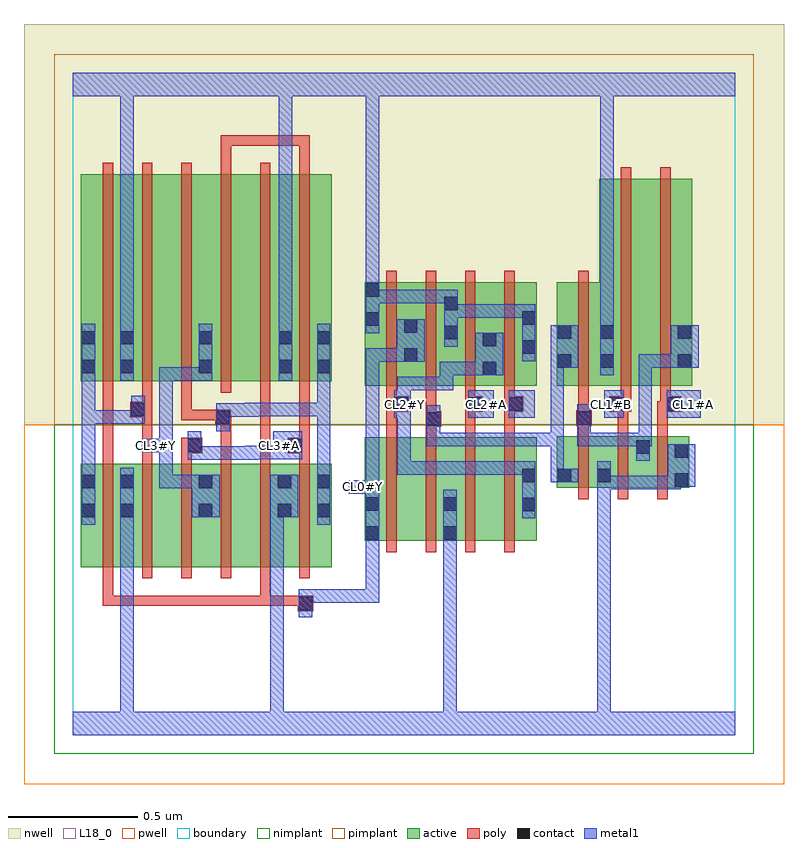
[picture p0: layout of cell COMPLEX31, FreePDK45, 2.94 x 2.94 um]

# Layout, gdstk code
import gdstk
lib = gdstk.Library(unit=1e-6, precision=1e-09)
def R(c, l, rs):  # rectangles x0, y0, x1, y1
    for r in rs: c.add(gdstk.rectangle(r[:2], r[2:], *l))
def A(c, l, x, y, w, h, nx, ny, dx, dy):  # array of equal rectangles
    R(c, l, [(x+i*dx, y+j*dy, x+i*dx+w, y+j*dy+h) for i in range(nx) for j in range(ny)])
active = (1, 0)
pwell = (2, 0)
nwell = (3, 0)
nimplant = (4, 0)
pimplant = (5, 0)
poly = (9, 0)
contact = (10, 0)
metal1 = (11, 0)
L18_0 = (18, 0)
boundary = (235, 0)

complex31 = lib.new_cell('COMPLEX31')
A(complex31, active, 0.18, 0.65, 0.06, 0.4, 3, 1, 0.304, 0)
R(complex31, active, [(0.032,0.65,0.092,1.05), (0.032,0.65,0.24,1.05), (0.18,0.65,0.364,1.05), (0.364,0.65,0.544,1.05), (0.484,0.65,0.668,1.05), (0.668,0.65,0.848,1.05), (0.788,0.65,1,1.05), (0.94,0.65,1,1.05), (1.128,0.752,1.188,1.152), (1.128,0.752,1.308,1.152), (1.308,0.752,1.488,1.152), (1.428,0.752,1.488,1.152), (1.428,0.752,1.612,1.152), (1.612,0.752,1.792,1.152), (1.732,0.752,1.792,1.152), (1.87,0.956,1.93,1.156), (1.87,0.956,2.082,1.156), (2.022,0.956,2.234,1.156), (2.022,0.956,2.082,1.034), (2.174,0.956,2.234,1.156), (2.174,0.956,2.382,1.156), (2.322,0.956,2.382,1.156), (1.128,1.35,1.188,1.75), (1.128,1.35,1.336,1.75), (1.276,1.35,1.336,1.644), (1.276,1.35,1.492,1.75), (1.432,1.35,1.64,1.75), (1.432,1.35,1.492,1.698), (1.58,1.35,1.792,1.75), (1.58,1.35,1.64,1.644), (1.732,1.35,1.792,1.644), (1.87,1.35,2.094,1.75), (1.87,1.35,1.93,1.644), (2.034,1.35,2.094,2.15), (2.034,1.35,2.214,2.15), (2.214,1.35,2.394,2.15), (2.334,1.35,2.394,2.15), (0.032,1.368,0.092,2.044), (0.032,1.368,0.24,2.168), (0.18,1.368,0.24,2.044), (0.18,1.368,0.364,2.168), (0.364,1.368,0.544,2.168), (0.484,1.368,0.544,2.044), (0.484,1.368,0.668,2.168), (0.668,1.368,0.852,2.168), (0.792,1.368,0.852,2.044), (0.792,1.368,1,2.168), (0.94,1.368,1,2.044)])
R(complex31, pwell, [(-0.188,-0.188,2.748,1.2)])
R(complex31, nwell, [(-0.188,1.2,2.748,2.748)])
R(complex31, nimplant, [(-0.072,-0.072,2.632,1.2)])
R(complex31, pimplant, [(-0.072,1.2,2.632,2.632)])
A(complex31, poly, 0.116, 0.606, 0.04, 0.488, 6, 1, 0.152, 0)
A(complex31, poly, 1.212, 0.708, 0.04, 0.488, 4, 2, 0.152, 0.598)
A(complex31, poly, 1.954, 0.912, 0.04, 0.288, 3, 1, 0.152, 0)
A(complex31, poly, 0.116, 1.324, 0.04, 0.888, 6, 1, 0.152, 0)
R(complex31, poly, [(0.87,0.48,0.93,0.54), (0.116,0.5,0.156,0.54), (0.116,0.5,0.156,0.54), (0.116,0.5,0.156,0.54), (0.116,0.5,0.156,0.646), (0.116,0.5,0.324,0.54), (0.284,0.5,0.324,0.54), (0.284,0.5,0.324,0.54), (0.284,0.5,0.324,0.54), (0.284,0.5,0.484,0.54), (0.444,0.5,0.484,0.54), (0.444,0.5,0.484,0.54), (0.444,0.5,0.484,0.54), (0.444,0.5,0.59,0.54), (0.55,0.5,0.59,0.54), (0.55,0.5,0.764,0.54), (0.724,0.5,0.764,0.54), (0.724,0.5,0.764,0.54), (0.724,0.5,0.764,0.54), (0.724,0.5,0.764,0.646), (0.724,0.5,0.91,0.54), (0.87,0.5,0.91,0.54), (0.87,0.5,0.91,0.54), (0.116,1.054,0.156,1.328), (0.268,1.054,0.308,1.268), (0.42,1.054,0.46,1.13), (0.572,1.054,0.612,1.238), (0.724,1.054,0.764,1.328), (0.876,1.054,0.916,1.13), (0.42,1.09,0.5,1.15), (0.83,1.09,0.916,1.15), (0.876,1.11,0.916,1.15), (0.876,1.11,0.916,1.15), (0.876,1.11,0.916,1.364), (1.212,1.156,1.252,1.29), (1.364,1.156,1.404,1.232), (1.516,1.156,1.556,1.29), (1.668,1.156,1.708,1.29), (1.954,1.16,1.994,1.236), (2.106,1.16,2.146,1.29), (2.258,1.16,2.298,1.29), (1.364,1.192,1.424,1.252), (1.946,1.196,2.006,1.256), (0.55,1.198,0.61,1.258), (0.57,1.198,0.61,1.238), (0.57,1.198,0.612,1.238), (1.364,1.212,1.404,1.252), (1.364,1.212,1.404,1.252), (1.364,1.212,1.404,1.346), (1.954,1.216,1.994,1.256), (1.954,1.216,1.994,1.256), (1.954,1.216,1.994,1.346), (0.42,1.218,0.46,1.258), (0.42,1.218,0.46,1.364), (0.42,1.218,0.59,1.258), (0.55,1.218,0.59,1.258), (0.55,1.218,0.59,1.258), (0.222,1.228,0.308,1.288), (0.268,1.228,0.308,1.268), (0.268,1.228,0.308,1.268), (0.268,1.248,0.308,1.364), (1.212,1.25,1.298,1.31), (1.516,1.25,1.556,1.29), (1.516,1.25,1.556,1.29), (1.516,1.25,1.584,1.31), (1.668,1.25,1.708,1.29), (1.668,1.25,1.708,1.29), (1.668,1.25,1.74,1.31), (2.072,1.25,2.158,1.31), (2.106,1.25,2.146,1.29), (2.106,1.25,2.146,1.29), (2.258,1.25,2.31,1.29), (2.27,1.25,2.31,1.29), (2.27,1.25,2.352,1.31), (1.212,1.27,1.252,1.346), (1.212,1.27,1.252,1.31), (1.212,1.27,1.252,1.31), (1.516,1.27,1.556,1.346), (1.668,1.27,1.708,1.346), (2.118,1.27,2.158,1.346), (2.27,1.27,2.31,1.346), (0.116,1.288,0.156,1.364), (0.116,1.288,0.156,1.328), (0.116,1.288,0.156,1.328), (0.116,1.288,0.156,1.328), (0.724,1.288,0.764,1.364), (0.724,1.288,0.764,1.328), (0.724,1.288,0.764,1.328), (0.724,1.288,0.764,1.328), (1.954,1.306,1.994,1.794), (2.118,1.306,2.158,2.194), (2.27,1.306,2.31,2.194), (0.572,2.172,0.612,2.318), (0.876,2.172,0.916,2.318), (0.572,2.278,0.612,2.318), (0.572,2.278,0.764,2.318), (0.724,2.278,0.764,2.318), (0.724,2.278,0.764,2.318), (0.724,2.278,0.764,2.318), (0.724,2.278,0.916,2.318), (0.876,2.278,0.916,2.318), (0.876,2.278,0.916,2.318), (0.876,2.278,0.916,2.318)])
A(complex31, contact, 0.184, 0.842, 0.052, 0.052, 3, 2, 0.304, 0.112)
R(complex31, contact, [(0.874,0.484,0.926,0.536), (1.132,0.756,1.184,0.808), (1.432,0.756,1.484,0.808), (0.036,0.842,0.088,0.894), (0.944,0.842,0.996,0.894), (1.736,0.866,1.788,0.918), (1.132,0.868,1.184,0.92), (1.432,0.868,1.484,0.92), (0.036,0.954,0.088,1.006), (0.944,0.954,0.996,1.006), (2.326,0.96,2.378,1.012), (1.736,0.978,1.788,1.03), (1.874,0.978,1.926,1.03), (2.026,0.978,2.078,1.03), (2.326,1.072,2.378,1.124), (2.178,1.088,2.23,1.14), (0.444,1.094,0.496,1.146), (0.834,1.094,0.886,1.146), (1.368,1.196,1.42,1.248), (1.95,1.2,2.002,1.252), (0.554,1.202,0.606,1.254), (0.226,1.232,0.278,1.284), (1.242,1.254,1.294,1.306), (1.528,1.254,1.58,1.306), (1.684,1.254,1.736,1.306), (2.076,1.254,2.128,1.306), (2.296,1.254,2.348,1.306), (1.584,1.392,1.636,1.444), (0.036,1.398,0.088,1.45), (0.184,1.398,0.236,1.45), (0.488,1.398,0.54,1.45), (0.796,1.398,0.848,1.45), (0.944,1.398,0.996,1.45), (1.874,1.42,1.926,1.472), (2.038,1.42,2.09,1.472), (2.338,1.42,2.39,1.472), (1.28,1.444,1.332,1.496), (1.736,1.474,1.788,1.526), (1.584,1.504,1.636,1.556), (0.036,1.51,0.088,1.562), (0.184,1.51,0.236,1.562), (0.488,1.51,0.54,1.562), (0.796,1.51,0.848,1.562), (0.944,1.51,0.996,1.562), (1.436,1.53,1.488,1.582), (1.874,1.532,1.926,1.584), (2.038,1.532,2.09,1.584), (2.338,1.532,2.39,1.584), (1.28,1.556,1.332,1.608), (1.132,1.582,1.184,1.634), (1.736,1.586,1.788,1.638), (1.436,1.642,1.488,1.694), (1.132,1.694,1.184,1.746)])
R(complex31, metal1, [(0,0,2.56,0.092), (0.184,0.04,0.236,0.092), (0.184,0.04,0.236,0.092), (0.184,0.04,0.236,0.092), (0.184,0.04,0.236,0.092), (0.184,0.04,0.236,0.092), (0.184,0.04,0.236,0.092), (0.184,0.04,0.236,0.092), (0.184,0.04,0.236,0.092), (0.184,0.04,0.236,0.866), (0.764,0.04,0.816,0.092), (0.764,0.04,0.816,0.092), (0.764,0.04,0.816,0.092), (0.764,0.04,0.816,0.092), (0.764,0.04,0.816,0.092), (0.764,0.04,0.816,0.092), (0.764,0.04,0.816,0.092), (0.764,0.04,0.816,0.092), (0.764,0.04,0.816,0.092), (0.764,0.04,0.816,0.092), (0.764,0.04,0.816,0.092), (0.764,0.04,0.816,0.092), (0.764,0.04,0.816,0.894), (1.432,0.04,1.484,0.78), (2.026,0.04,2.078,0.092), (2.026,0.04,2.078,0.092), (2.026,0.04,2.078,0.092), (2.026,0.04,2.078,0.092), (2.026,0.04,2.078,0.092), (2.026,0.04,2.078,0.092), (2.026,0.04,2.078,0.092), (2.026,0.04,2.078,0.092), (2.026,0.04,2.078,0.092), (2.026,0.04,2.078,0.092), (2.026,0.04,2.078,0.092), (2.026,0.04,2.078,0.092), (2.026,0.04,2.078,0.092), (2.026,0.04,2.078,0.092), (2.026,0.04,2.078,0.092), (2.026,0.04,2.078,0.092), (2.026,0.04,2.078,1.002), (0.874,0.456,0.926,0.564), (0.874,0.512,0.982,0.564), (0.93,0.512,0.982,0.564), (0.93,0.512,0.982,0.564), (0.93,0.512,0.982,0.564), (0.93,0.512,1.184,0.564), (1.132,0.512,1.184,0.564), (1.132,0.512,1.184,0.78), (1.132,0.728,1.184,0.78), (1.132,0.728,1.184,0.78), (1.132,0.728,1.184,0.78), (1.132,0.728,1.184,0.78), (1.132,0.728,1.184,0.948), (1.432,0.728,1.484,0.78), (1.432,0.728,1.484,0.78), (1.432,0.728,1.484,0.78), (1.432,0.728,1.484,0.78), (1.432,0.728,1.484,0.78), (1.432,0.728,1.484,0.78), (1.432,0.728,1.484,0.78), (1.432,0.728,1.484,0.78), (1.432,0.728,1.484,0.78), (1.432,0.728,1.484,0.78), (1.432,0.728,1.484,0.78), (1.432,0.728,1.484,0.78), (1.432,0.728,1.484,0.948), (0.036,0.814,0.088,1.034), (0.184,0.814,0.236,0.866), (0.184,0.814,0.236,0.866), (0.184,0.814,0.236,0.866), (0.184,0.814,0.236,0.866), (0.184,0.814,0.236,1.034), (0.944,0.814,0.996,1.034), (1.736,0.838,1.788,1.058), (0.46,0.842,0.568,1.006), (0.764,0.842,0.872,1.006), (1.132,0.896,1.184,0.986), (1.066,0.934,1.184,0.986), (1.132,0.934,1.184,1.496), (2.026,0.95,2.078,1.058), (2.026,0.95,2.238,1.002), (2.186,0.95,2.238,1.002), (2.186,0.95,2.238,1.002), (2.186,0.95,2.238,1.002), (2.186,0.95,2.35,1.002), (2.298,0.95,2.35,1.012), (0.334,0.954,0.386,1.006), (0.334,0.954,0.388,1.006), (0.334,0.954,0.386,1.146), (0.336,0.954,0.388,1.006), (0.336,0.954,0.512,1.006), (2.298,0.96,2.35,1.012), (2.298,0.96,2.406,1.124), (1.846,0.978,1.898,1.168), (1.846,0.978,1.954,1.03), (0.036,0.982,0.088,1.034), (0.036,0.982,0.088,1.034), (0.036,0.982,0.088,1.256), (0.944,0.982,0.996,1.284), (1.254,1.006,1.306,1.058), (1.254,1.006,1.416,1.058), (1.254,1.006,1.306,1.278), (1.364,1.006,1.416,1.058), (1.364,1.006,1.416,1.058), (1.364,1.006,1.416,1.058), (1.364,1.006,1.626,1.058), (1.574,1.006,1.626,1.058), (1.574,1.006,1.626,1.058), (1.574,1.006,1.626,1.058), (1.574,1.006,1.788,1.058), (1.736,1.006,1.788,1.058), (1.736,1.006,1.788,1.058), (2.178,1.06,2.23,1.168), (0.444,1.064,0.606,1.116), (0.444,1.064,0.496,1.118), (0.554,1.064,0.606,1.116), (0.554,1.064,0.606,1.116), (0.554,1.064,0.606,1.116), (0.554,1.064,0.716,1.116), (0.664,1.064,0.716,1.118), (0.444,1.066,0.496,1.118), (0.444,1.066,0.496,1.174), (0.664,1.066,0.826,1.118), (0.774,1.066,0.826,1.118), (0.774,1.066,0.826,1.118), (0.774,1.066,0.886,1.174), (0.266,1.094,0.386,1.146), (0.334,1.094,0.386,1.146), (0.334,1.094,0.386,1.146), (0.334,1.094,0.386,1.422), (1.368,1.116,1.626,1.168), (1.368,1.116,1.42,1.22), (1.574,1.116,1.626,1.168), (1.574,1.116,1.626,1.168), (1.574,1.116,1.626,1.168), (1.574,1.116,1.736,1.168), (1.684,1.116,1.736,1.168), (1.684,1.116,1.736,1.168), (1.684,1.116,1.736,1.168), (1.684,1.116,1.898,1.168), (1.846,1.116,1.898,1.168), (1.846,1.116,1.898,1.472), (1.95,1.116,2.002,1.224), (1.95,1.116,2.23,1.168), (2.178,1.116,2.23,1.168), (2.178,1.116,2.23,1.168), (2.178,1.116,2.23,1.168), (2.178,1.116,2.238,1.168), (2.186,1.116,2.238,1.472), (1.368,1.168,1.42,1.22), (1.368,1.168,1.42,1.276), (1.95,1.172,2.002,1.224), (1.95,1.172,2.002,1.28), (0.554,1.174,0.606,1.282), (0.036,1.204,0.088,1.256), (0.036,1.204,0.088,1.256), (0.036,1.204,0.088,1.256), (0.036,1.204,0.198,1.256), (0.036,1.204,0.088,1.422), (0.146,1.204,0.198,1.256), (0.146,1.204,0.278,1.256), (0.226,1.204,0.278,1.312), (1.242,1.226,1.306,1.334), (1.254,1.226,1.306,1.278), (1.254,1.226,1.306,1.278), (1.254,1.226,1.306,1.386), (1.528,1.226,1.626,1.334), (1.684,1.226,1.786,1.334), (2.054,1.226,2.128,1.334), (2.296,1.226,2.426,1.334), (0.554,1.23,0.606,1.282), (0.554,1.23,0.606,1.282), (0.554,1.23,0.716,1.282), (0.664,1.23,0.716,1.284), (0.664,1.232,0.716,1.284), (0.664,1.232,0.716,1.284), (0.664,1.232,0.996,1.284), (0.944,1.232,0.996,1.284), (0.944,1.232,0.996,1.284), (0.944,1.232,0.996,1.284), (0.944,1.232,0.996,1.284), (0.944,1.232,0.996,1.284), (0.944,1.232,0.996,1.422), (1.254,1.334,1.306,1.386), (1.254,1.334,1.47,1.386), (1.418,1.334,1.47,1.386), (1.418,1.334,1.47,1.386), (1.418,1.334,1.47,1.386), (1.418,1.334,1.47,1.444), (0.036,1.37,0.088,1.59), (0.184,1.37,0.236,1.59), (0.334,1.37,0.386,1.422), (0.334,1.37,0.388,1.422), (0.336,1.37,0.388,1.422), (0.336,1.37,0.54,1.422), (0.488,1.37,0.54,1.59), (0.796,1.37,0.848,1.59), (0.944,1.37,0.996,1.59), (1.418,1.392,1.47,1.444), (1.418,1.392,1.608,1.444), (1.556,1.392,1.608,1.444), (1.556,1.392,1.608,1.444), (1.556,1.392,1.664,1.556), (2.038,1.392,2.09,1.612), (1.846,1.42,1.898,1.472), (1.846,1.42,1.898,1.472), (1.846,1.42,1.954,1.584), (2.186,1.42,2.238,1.472), (2.186,1.42,2.238,1.472), (2.186,1.42,2.238,1.472), (2.186,1.42,2.362,1.472), (2.31,1.42,2.362,1.472), (2.31,1.42,2.362,1.472), (2.31,1.42,2.418,1.584), (1.132,1.444,1.184,1.496), (1.132,1.444,1.184,1.496), (1.132,1.444,1.184,1.496), (1.132,1.444,1.184,1.496), (1.132,1.444,1.184,1.496), (1.132,1.444,1.304,1.496), (1.252,1.444,1.36,1.608), (1.736,1.446,1.788,1.666), (1.436,1.502,1.488,1.722), (0.184,1.538,0.236,1.59), (0.184,1.538,0.236,1.59), (0.184,1.538,0.236,2.52), (0.796,1.538,0.848,1.59), (0.796,1.538,0.848,1.59), (0.796,1.538,0.848,1.59), (0.796,1.538,0.848,1.59), (0.796,1.538,0.848,1.59), (0.796,1.538,0.848,1.59), (0.796,1.538,0.848,2.52), (1.132,1.554,1.184,1.774), (2.038,1.56,2.09,2.52), (1.436,1.614,1.626,1.666), (1.574,1.614,1.626,1.666), (1.574,1.614,1.626,1.666), (1.574,1.614,1.626,1.666), (1.574,1.614,1.788,1.666), (1.736,1.614,1.788,1.666), (1.736,1.614,1.788,1.666), (1.132,1.67,1.294,1.722), (1.242,1.67,1.294,1.722), (1.242,1.67,1.294,1.722), (1.242,1.67,1.294,1.722), (1.242,1.67,1.462,1.722), (1.41,1.67,1.462,1.722), (1.41,1.67,1.488,1.722), (1.132,1.722,1.184,1.774), (1.132,1.722,1.184,1.774), (1.132,1.722,1.184,1.774), (1.132,1.722,1.184,1.774), (1.132,1.722,1.184,1.774), (1.132,1.722,1.184,1.774), (1.132,1.722,1.184,1.774), (1.132,1.722,1.184,1.774), (1.132,1.722,1.184,1.774), (1.132,1.722,1.184,1.774), (1.132,1.722,1.184,1.774), (1.132,1.722,1.184,1.774), (1.132,1.722,1.184,1.774), (1.132,1.722,1.184,1.774), (1.132,1.722,1.184,2.52), (0,2.468,2.56,2.56), (0.184,2.468,0.236,2.52), (0.184,2.468,0.236,2.52), (0.184,2.468,0.236,2.52), (0.184,2.468,0.236,2.52), (0.184,2.468,0.236,2.52), (0.184,2.468,0.236,2.52), (0.796,2.468,0.848,2.52), (0.796,2.468,0.848,2.52), (1.132,2.468,1.184,2.52), (1.132,2.468,1.184,2.52), (2.038,2.468,2.09,2.52), (2.038,2.468,2.09,2.52), (2.038,2.468,2.09,2.52), (2.038,2.468,2.09,2.52), (2.038,2.468,2.09,2.52), (2.038,2.468,2.09,2.52), (2.038,2.468,2.09,2.52), (2.038,2.468,2.09,2.52)])
A(complex31, L18_0, 1.734, 1.254, 0.052, 0.052, 3, 1, 0.32, 0)
R(complex31, L18_0, [(0,0,2.56,0.092), (0.184,0.04,0.236,0.092), (0.184,0.04,0.236,0.092), (0.184,0.04,0.236,0.092), (0.184,0.04,0.236,0.092), (0.184,0.04,0.236,0.092), (0.184,0.04,0.236,0.092), (0.184,0.04,0.236,0.092), (0.184,0.04,0.236,0.092), (0.184,0.04,0.236,0.866), (0.764,0.04,0.816,0.092), (0.764,0.04,0.816,0.092), (0.764,0.04,0.816,0.092), (0.764,0.04,0.816,0.092), (0.764,0.04,0.816,0.092), (0.764,0.04,0.816,0.092), (0.764,0.04,0.816,0.092), (0.764,0.04,0.816,0.092), (0.764,0.04,0.816,0.092), (0.764,0.04,0.816,0.092), (0.764,0.04,0.816,0.092), (0.764,0.04,0.816,0.092), (0.764,0.04,0.816,0.894), (1.432,0.04,1.484,0.78), (2.026,0.04,2.078,0.092), (2.026,0.04,2.078,0.092), (2.026,0.04,2.078,0.092), (2.026,0.04,2.078,0.092), (2.026,0.04,2.078,0.092), (2.026,0.04,2.078,0.092), (2.026,0.04,2.078,0.092), (2.026,0.04,2.078,0.092), (2.026,0.04,2.078,0.092), (2.026,0.04,2.078,0.092), (2.026,0.04,2.078,0.092), (2.026,0.04,2.078,0.092), (2.026,0.04,2.078,0.092), (2.026,0.04,2.078,0.092), (2.026,0.04,2.078,0.092), (2.026,0.04,2.078,0.092), (2.026,0.04,2.078,1.002), (0.874,0.456,0.926,0.564), (0.874,0.512,0.982,0.564), (0.93,0.512,0.982,0.564), (0.93,0.512,0.982,0.564), (0.93,0.512,0.982,0.564), (0.93,0.512,1.184,0.564), (1.132,0.512,1.184,0.564), (1.132,0.512,1.184,0.78), (1.132,0.728,1.184,0.78), (1.132,0.728,1.184,0.78), (1.132,0.728,1.184,0.78), (1.132,0.728,1.184,0.78), (1.132,0.728,1.184,0.948), (1.432,0.728,1.484,0.78), (1.432,0.728,1.484,0.78), (1.432,0.728,1.484,0.78), (1.432,0.728,1.484,0.78), (1.432,0.728,1.484,0.78), (1.432,0.728,1.484,0.78), (1.432,0.728,1.484,0.78), (1.432,0.728,1.484,0.78), (1.432,0.728,1.484,0.78), (1.432,0.728,1.484,0.78), (1.432,0.728,1.484,0.78), (1.432,0.728,1.484,0.78), (1.432,0.728,1.484,0.948), (0.184,0.814,0.236,0.866), (0.184,0.814,0.236,0.866), (0.184,0.814,0.236,0.866), (0.184,0.814,0.236,0.866), (0.184,0.814,0.236,1.034), (1.736,0.838,1.788,1.058), (0.46,0.842,0.568,1.006), (0.764,0.842,0.872,1.006), (1.132,0.896,1.184,0.986), (1.066,0.934,1.184,0.986), (1.094,0.934,1.146,0.986), (1.132,0.934,1.184,1.496), (2.026,0.95,2.078,1.058), (2.026,0.95,2.238,1.002), (2.186,0.95,2.238,1.002), (2.186,0.95,2.238,1.002), (2.186,0.95,2.238,1.002), (2.186,0.95,2.35,1.002), (2.298,0.95,2.35,1.012), (0.334,0.954,0.386,1.006), (0.334,0.954,0.386,1.146), (0.334,0.954,0.388,1.006), (0.336,0.954,0.388,1.006), (0.336,0.954,0.512,1.006), (2.298,0.96,2.35,1.012), (2.298,0.96,2.406,1.124), (1.254,1.006,1.306,1.058), (1.254,1.006,1.416,1.058), (1.254,1.006,1.306,1.278), (1.364,1.006,1.416,1.058), (1.364,1.006,1.416,1.058), (1.364,1.006,1.416,1.058), (1.364,1.006,1.626,1.058), (1.574,1.006,1.626,1.058), (1.574,1.006,1.626,1.058), (1.574,1.006,1.626,1.058), (1.574,1.006,1.788,1.058), (1.736,1.006,1.788,1.058), (1.736,1.006,1.788,1.058), (0.444,1.064,0.496,1.118), (0.444,1.064,0.606,1.116), (0.554,1.064,0.606,1.116), (0.554,1.064,0.606,1.116), (0.554,1.064,0.606,1.116), (0.554,1.064,0.716,1.116), (0.664,1.064,0.716,1.118), (0.444,1.066,0.496,1.118), (0.444,1.066,0.496,1.174), (0.664,1.066,0.826,1.118), (0.774,1.066,0.826,1.118), (0.774,1.066,0.826,1.118), (0.774,1.066,0.886,1.174), (0.266,1.094,0.386,1.146), (0.294,1.094,0.346,1.146), (0.334,1.094,0.386,1.146), (0.334,1.094,0.386,1.146), (0.334,1.094,0.386,1.422), (0.774,1.094,0.826,1.146), (1.242,1.226,1.306,1.334), (1.254,1.226,1.306,1.278), (1.254,1.226,1.306,1.278), (1.254,1.226,1.306,1.386), (1.528,1.226,1.626,1.334), (1.684,1.226,1.786,1.334), (2.054,1.226,2.128,1.334), (2.296,1.226,2.426,1.334), (1.254,1.254,1.306,1.306), (1.574,1.254,1.626,1.306), (1.254,1.334,1.306,1.386), (1.254,1.334,1.47,1.386), (1.418,1.334,1.47,1.386), (1.418,1.334,1.47,1.386), (1.418,1.334,1.47,1.386), (1.418,1.334,1.47,1.444), (0.184,1.37,0.236,1.59), (0.334,1.37,0.386,1.422), (0.334,1.37,0.388,1.422), (0.336,1.37,0.388,1.422), (0.336,1.37,0.54,1.422), (0.488,1.37,0.54,1.59), (0.796,1.37,0.848,1.59), (1.418,1.392,1.47,1.444), (1.418,1.392,1.608,1.444), (1.556,1.392,1.608,1.444), (1.556,1.392,1.608,1.444), (1.556,1.392,1.664,1.556), (2.038,1.392,2.09,1.612), (1.132,1.444,1.184,1.496), (1.132,1.444,1.184,1.496), (1.132,1.444,1.184,1.496), (1.132,1.444,1.184,1.496), (1.132,1.444,1.184,1.496), (1.132,1.444,1.304,1.496), (1.252,1.444,1.36,1.608), (1.736,1.446,1.788,1.666), (1.436,1.502,1.488,1.722), (0.184,1.538,0.236,1.59), (0.184,1.538,0.236,1.59), (0.184,1.538,0.236,2.52), (0.796,1.538,0.848,1.59), (0.796,1.538,0.848,1.59), (0.796,1.538,0.848,1.59), (0.796,1.538,0.848,1.59), (0.796,1.538,0.848,1.59), (0.796,1.538,0.848,1.59), (0.796,1.538,0.848,2.52), (1.132,1.554,1.184,1.774), (2.038,1.56,2.09,2.52), (1.436,1.614,1.626,1.666), (1.574,1.614,1.626,1.666), (1.574,1.614,1.626,1.666), (1.574,1.614,1.626,1.666), (1.574,1.614,1.788,1.666), (1.736,1.614,1.788,1.666), (1.736,1.614,1.788,1.666), (1.132,1.67,1.294,1.722), (1.242,1.67,1.294,1.722), (1.242,1.67,1.294,1.722), (1.242,1.67,1.294,1.722), (1.242,1.67,1.462,1.722), (1.41,1.67,1.462,1.722), (1.41,1.67,1.488,1.722), (1.132,1.722,1.184,1.774), (1.132,1.722,1.184,1.774), (1.132,1.722,1.184,1.774), (1.132,1.722,1.184,1.774), (1.132,1.722,1.184,1.774), (1.132,1.722,1.184,1.774), (1.132,1.722,1.184,1.774), (1.132,1.722,1.184,1.774), (1.132,1.722,1.184,1.774), (1.132,1.722,1.184,1.774), (1.132,1.722,1.184,1.774), (1.132,1.722,1.184,1.774), (1.132,1.722,1.184,1.774), (1.132,1.722,1.184,1.774), (1.132,1.722,1.184,2.52), (0,2.468,2.56,2.56), (0.184,2.468,0.236,2.52), (0.184,2.468,0.236,2.52), (0.184,2.468,0.236,2.52), (0.184,2.468,0.236,2.52), (0.184,2.468,0.236,2.52), (0.184,2.468,0.236,2.52), (0.796,2.468,0.848,2.52), (0.796,2.468,0.848,2.52), (1.132,2.468,1.184,2.52), (1.132,2.468,1.184,2.52), (2.038,2.468,2.09,2.52), (2.038,2.468,2.09,2.52), (2.038,2.468,2.09,2.52), (2.038,2.468,2.09,2.52), (2.038,2.468,2.09,2.52), (2.038,2.468,2.09,2.52), (2.038,2.468,2.09,2.52), (2.038,2.468,2.09,2.52)])
R(complex31, boundary, [(0,0,2.56,2.56)])
complex31.add(gdstk.Label('CL0#Y', (1.12,0.96), layer=11, texttype=0))
complex31.add(gdstk.Label('CL1#A', (2.4,1.28), layer=11, texttype=0))
complex31.add(gdstk.Label('CL1#B', (2.08,1.28), layer=11, texttype=0))
complex31.add(gdstk.Label('CL2#A', (1.6,1.28), layer=11, texttype=0))
complex31.add(gdstk.Label('CL2#B', (1.76,1.28), layer=11, texttype=0))
complex31.add(gdstk.Label('CL2#Y', (1.28,1.28), layer=11, texttype=0))
complex31.add(gdstk.Label('CL3#A', (0.8,1.12), layer=11, texttype=0))
complex31.add(gdstk.Label('CL3#Y', (0.32,1.12), layer=11, texttype=0))

lib.write_gds('COMPLEX31.gds')
